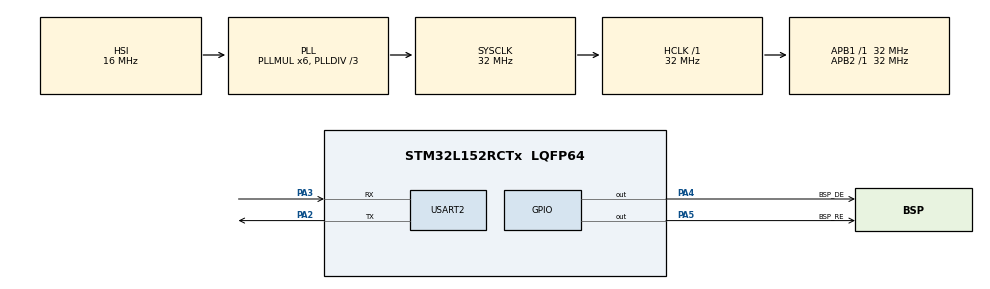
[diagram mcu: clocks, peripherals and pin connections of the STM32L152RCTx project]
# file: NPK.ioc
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Mcu.Family=STM32L1
Mcu.Name=STM32L152RCTx
Mcu.Package=LQFP64
NVIC.PriorityGroup=NVIC_PRIORITYGROUP_0
PA13.Mode=Serial_Wire
PA13.Signal=SYS_JTMS-SWDIO
PA14.Mode=Serial_Wire
PA14.Signal=SYS_JTCK-SWCLK
PA2.Mode=Asynchronous
PA2.Signal=USART2_TX
PA3.Mode=Asynchronous
PA3.Signal=USART2_RX
PA4.GPIO_Label=BSP_DE
PA4.Signal=GPIO_Output
PA5.GPIO_Label=BSP_RE
PA5.Signal=GPIO_Output
PH0-OSC_IN.Mode=HSE-External-Oscillator
PH0-OSC_IN.Signal=RCC_OSC_IN
PH1-OSC_OUT.Mode=HSE-External-Oscillator
PH1-OSC_OUT.Signal=RCC_OSC_OUT
ProjectManager.HeapSize=0x200
ProjectManager.StackSize=0x400
ProjectManager.TargetToolchain=STM32CubeIDE
RCC.48MHZClocksFreq_Value=48000000
RCC.AHBFreq_Value=32000000
RCC.APB1Freq_Value=32000000
RCC.APB1TimFreq_Value=32000000
RCC.APB2Freq_Value=32000000
RCC.APB2TimFreq_Value=32000000
RCC.HCLKFreq_Value=32000000
RCC.HSE_VALUE=8000000
RCC.HSI_VALUE=16000000
RCC.LSE_VALUE=32768
RCC.MSI_VALUE=2097000
RCC.PLLDIV=RCC_PLL_DIV3
RCC.PLLMUL=RCC_PLL_MUL6
RCC.RTCClockSelectionVirtual=RCC_RTCCLKSOURCE_LSE
RCC.SYSCLKFreq_VALUE=32000000
RCC.SYSCLKSource=RCC_SYSCLKSOURCE_PLLCLK
RCC.USBOutput=48000000
RCC.VCOOutputFreq_Value=96000000
TIM2.Channel-PWM\ Generation1\ No\ Output=TIM_CHANNEL_1
USART2.VirtualMode=VM_ASYNC
VP_TIM2_VS_ClockSourceITR.Mode=TriggerSource_ITR0
VP_TIM2_VS_ControllerModeClock.Mode=Clock Mode
VP_TIM2_VS_no_output1.Mode=PWM Generation1 No Output
board=STM32L152C-DISCO

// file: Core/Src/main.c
/* USER CODE BEGIN Header */
/**
  ******************************************************************************
  * @file           : main.c
  * @brief          : Main program body
  ******************************************************************************
  * @attention
  *
  * Copyright (c) 2023 STMicroelectronics.
  * All rights reserved.
  *
  * This software is licensed under terms that can be found in the LICENSE file
  * in the root directory of this software component.
  * If no LICENSE file comes with this software, it is provided AS-IS.
  *
  ******************************************************************************
  */
/* USER CODE END Header */
#include "main.h"

/* USER CODE BEGIN Includes */

#include "stdio.h"

/* USER CODE END Includes */

/* USER CODE BEGIN PM */

#define FRAME_SIZE 8

/* USER CODE END PM */

TIM_HandleTypeDef htim2;

UART_HandleTypeDef huart2;

/* USER CODE BEGIN PV */

uint8_t temp[] = {0x01,0x03, 0x00, 0x13, 0x00, 0x01, 0x75, 0xcf};//
uint8_t mois[]  = {0x01,0x03,0x00,0x12,0x00,0x01,0x24,0x0F};
uint8_t econ[] = {0x01,0x03, 0x00, 0x15, 0x00, 0x01, 0x95, 0xce};
uint8_t ph[] = {0x01,0x03, 0x00, 0x06, 0x00, 0x01, 0x64, 0x0b};//0x0B64

uint8_t nitro[] = { 0x01, 0x03, 0x00, 0x1E, 0x00, 0x01, 0xE4, 0x0C };
uint8_t phos[] = { 0x01, 0x03, 0x00, 0x1f, 0x00, 0x01, 0xb5, 0xcc };
uint8_t pota[] = { 0x01, 0x03, 0x00, 0x20, 0x00, 0x01, 0x85, 0xc0 };

uint8_t values[11];

/* USER CODE END PV */

void SystemClock_Config(void);
static void MX_GPIO_Init(void);
static void MX_USART2_UART_Init(void);
static void MX_TIM2_Init(void);

/* USER CODE BEGIN 0 */

uint8_t nitrogen();
uint8_t phosphorous();
uint8_t potassium();

/* USER CODE END 0 */

int main(void)
{

  /* MCU Configuration--------------------------------------------------------*/

  /* Reset of all peripherals, Initializes the Flash interface and the Systick. */
  HAL_Init();

  /* Configure the system clock */
  SystemClock_Config();

  /* Initialize all configured peripherals */
  MX_GPIO_Init();
  MX_USART2_UART_Init();
  MX_TIM2_Init();
  /* USER CODE BEGIN 2 */

  // Read values
   uint8_t val1,val2,val3;

    val1 = nitrogen();
    HAL_Delay(250);

    val2 = phosphorous();
    HAL_Delay(250);

    val3 = potassium();
    HAL_Delay(250);

    // Print values to the serial monitor

      printf("Nitrogen: ");
      printf("%d  mg/kg",val1);

      printf("Phosphorous: ");
      printf("%d  mg/kg",val2);

      printf("Potassium: ");
      printf("%d  mg/kg",val3);

  /* USER CODE END 2 */

  /* Infinite loop */
  while (1)
  {

}

void SystemClock_Config(void)
{
  RCC_OscInitTypeDef RCC_OscInitStruct = {0};
  RCC_ClkInitTypeDef RCC_ClkInitStruct = {0};

  /** Configure the main internal regulator output voltage
  */
  __HAL_PWR_VOLTAGESCALING_CONFIG(PWR_REGULATOR_VOLTAGE_SCALE1);

  /** Initializes the RCC Oscillators according to the specified parameters
  * in the RCC_OscInitTypeDef structure.
  */
  RCC_OscInitStruct.OscillatorType = RCC_OSCILLATORTYPE_HSI;
  RCC_OscInitStruct.HSIState = RCC_HSI_ON;
  RCC_OscInitStruct.HSICalibrationValue = RCC_HSICALIBRATION_DEFAULT;
  RCC_OscInitStruct.PLL.PLLState = RCC_PLL_ON;
  RCC_OscInitStruct.PLL.PLLSource = RCC_PLLSOURCE_HSI;
  RCC_OscInitStruct.PLL.PLLMUL = RCC_PLL_MUL6;
  RCC_OscInitStruct.PLL.PLLDIV = RCC_PLL_DIV3;
  if (HAL_RCC_OscConfig(&RCC_OscInitStruct) != HAL_OK)
  {
    Error_Handler();
  }

  /** Initializes the CPU, AHB and APB buses clocks
  */
  RCC_ClkInitStruct.ClockType = RCC_CLOCKTYPE_HCLK|RCC_CLOCKTYPE_SYSCLK
                              |RCC_CLOCKTYPE_PCLK1|RCC_CLOCKTYPE_PCLK2;
  RCC_ClkInitStruct.SYSCLKSource = RCC_SYSCLKSOURCE_PLLCLK;
  RCC_ClkInitStruct.AHBCLKDivider = RCC_SYSCLK_DIV1;
  RCC_ClkInitStruct.APB1CLKDivider = RCC_HCLK_DIV1;
  RCC_ClkInitStruct.APB2CLKDivider = RCC_HCLK_DIV1;

  if (HAL_RCC_ClockConfig(&RCC_ClkInitStruct, FLASH_LATENCY_1) != HAL_OK)
  {
    Error_Handler();
  }
}

static void MX_TIM2_Init(void)
{

  TIM_SlaveConfigTypeDef sSlaveConfig = {0};
  TIM_MasterConfigTypeDef sMasterConfig = {0};
  TIM_OC_InitTypeDef sConfigOC = {0};

  htim2.Instance = TIM2;
  htim2.Init.Prescaler = 0;
  htim2.Init.CounterMode = TIM_COUNTERMODE_UP;
  htim2.Init.Period = 65535;
  htim2.Init.ClockDivision = TIM_CLOCKDIVISION_DIV1;
  htim2.Init.AutoReloadPreload = TIM_AUTORELOAD_PRELOAD_DISABLE;
  if (HAL_TIM_Base_Init(&htim2) != HAL_OK)
  {
    Error_Handler();
  }
  if (HAL_TIM_PWM_Init(&htim2) != HAL_OK)
  {
    Error_Handler();
  }
  sSlaveConfig.SlaveMode = TIM_SLAVEMODE_EXTERNAL1;
  sSlaveConfig.InputTrigger = TIM_TS_ITR0;
  if (HAL_TIM_SlaveConfigSynchro(&htim2, &sSlaveConfig) != HAL_OK)
  {
    Error_Handler();
  }
  sMasterConfig.MasterOutputTrigger = TIM_TRGO_RESET;
  sMasterConfig.MasterSlaveMode = TIM_MASTERSLAVEMODE_DISABLE;
  if (HAL_TIMEx_MasterConfigSynchronization(&htim2, &sMasterConfig) != HAL_OK)
  {
    Error_Handler();
  }
  sConfigOC.OCMode = TIM_OCMODE_PWM1;
  sConfigOC.Pulse = 0;
  sConfigOC.OCPolarity = TIM_OCPOLARITY_HIGH;
  sConfigOC.OCFastMode = TIM_OCFAST_DISABLE;
  if (HAL_TIM_PWM_ConfigChannel(&htim2, &sConfigOC, TIM_CHANNEL_1) != HAL_OK)
  {
    Error_Handler();
  }

}

static void MX_USART2_UART_Init(void)
{

  huart2.Instance = USART2;
  huart2.Init.BaudRate = 115200;
  huart2.Init.WordLength = UART_WORDLENGTH_8B;
  huart2.Init.StopBits = UART_STOPBITS_1;
  huart2.Init.Parity = UART_PARITY_NONE;
  huart2.Init.Mode = UART_MODE_TX_RX;
  huart2.Init.HwFlowCtl = UART_HWCONTROL_NONE;
  huart2.Init.OverSampling = UART_OVERSAMPLING_16;
  if (HAL_UART_Init(&huart2) != HAL_OK)
  {
    Error_Handler();
  }

}

static void MX_GPIO_Init(void)
{
  GPIO_InitTypeDef GPIO_InitStruct = {0};

  /* GPIO Ports Clock Enable */
  __HAL_RCC_GPIOH_CLK_ENABLE();
  __HAL_RCC_GPIOA_CLK_ENABLE();

  /*Configure GPIO pin Output Level */
  HAL_GPIO_WritePin(GPIOA, BSP_DE_Pin|BSP_RE_Pin, GPIO_PIN_RESET);

  /*Configure GPIO pins : BSP_DE_Pin BSP_RE_Pin */
  GPIO_InitStruct.Pin = BSP_DE_Pin|BSP_RE_Pin;
  GPIO_InitStruct.Mode = GPIO_MODE_OUTPUT_PP;
  GPIO_InitStruct.Pull = GPIO_NOPULL;
  GPIO_InitStruct.Speed = GPIO_SPEED_FREQ_LOW;
  HAL_GPIO_Init(GPIOA, &GPIO_InitStruct);

}

/* USER CODE BEGIN 4 */

//float nitrogen(){
//	HAL_GPIO_WritePin(GPIOx, GPIO_Pin, PinState);
////	HAL_GPIO_WritePin(GPIOx, GPIO_Pin, PinState);
//
//	HAL_Delay(10);
//
//	HAL_UART_Receive(&huart2, nitro,Sizeof(nitro),1000);
//
//}

uint8_t nitrogen(){

	HAL_GPIO_WritePin(BSP_DE_GPIO_Port, BSP_DE_Pin,GPIO_PIN_SET);
	HAL_GPIO_WritePin(BSP_RE_GPIO_Port, BSP_RE_Pin,GPIO_PIN_SET);

	HAL_Delay(10);

	if(HAL_UART_Transmit(&huart2, nitro, sizeof(nitro),1000)== HAL_OK){

    HAL_GPIO_WritePin(BSP_DE_GPIO_Port, BSP_DE_Pin,GPIO_PIN_RESET);
	HAL_GPIO_WritePin(BSP_RE_GPIO_Port, BSP_RE_Pin,GPIO_PIN_RESET);

	if(HAL_UART_Receive(&huart2, values ,FRAME_SIZE, 1000) != HAL_OK){
		printf("Error receive from nitrogen data \r\n");
	}

	}
		return values[4];

};

uint8_t phosphorus(){

	HAL_GPIO_WritePin(BSP_DE_GPIO_Port, BSP_DE_Pin,GPIO_PIN_SET);
	HAL_GPIO_WritePin(BSP_RE_GPIO_Port, BSP_RE_Pin,GPIO_PIN_SET);

	HAL_Delay(10);

	if(HAL_UART_Transmit(&huart2, phos, sizeof(phos),1000)== HAL_OK){

    HAL_GPIO_WritePin(BSP_DE_GPIO_Port, BSP_DE_Pin,GPIO_PIN_RESET);
	HAL_GPIO_WritePin(BSP_RE_GPIO_Port, BSP_RE_Pin,GPIO_PIN_RESET);

	if(HAL_UART_Receive(&huart2, values ,FRAME_SIZE, 1000) != HAL_OK){
		printf("error receive from phosphorus data \r\n");
	}

	}
		return values[4];
};

uint8_t potassium(){

	HAL_GPIO_WritePin(BSP_DE_GPIO_Port, BSP_DE_Pin,GPIO_PIN_SET);
	HAL_GPIO_WritePin(BSP_RE_GPIO_Port, BSP_RE_Pin,GPIO_PIN_SET);

	HAL_Delay(10);

	if(HAL_UART_Transmit(&huart2, pota, sizeof(pota),1000)== HAL_OK){

    HAL_GPIO_WritePin(BSP_DE_GPIO_Port, BSP_DE_Pin,GPIO_PIN_RESET);
	HAL_GPIO_WritePin(BSP_RE_GPIO_Port, BSP_RE_Pin,GPIO_PIN_RESET);

	if(HAL_UART_Receive(&huart2, values ,FRAME_SIZE, 1000) != HAL_OK){
		printf("error receive from potassium data \r\n");
	}

	}
		return values[4];
};

/* USER CODE END 4 */

void Error_Handler(void)
{
  __disable_irq();
  while (1)
  {
  }
}
